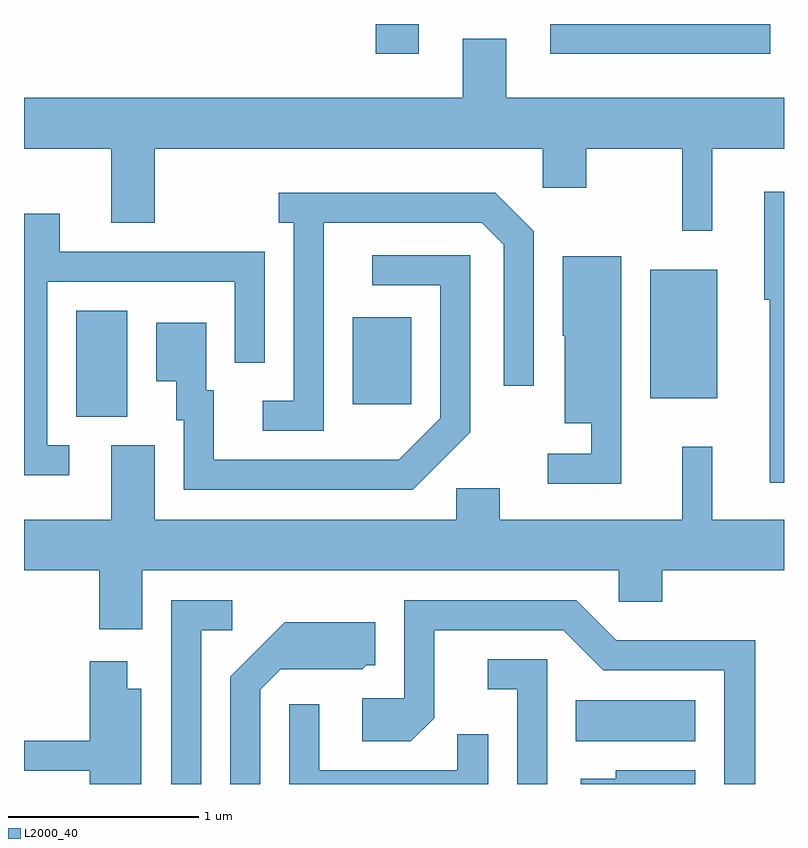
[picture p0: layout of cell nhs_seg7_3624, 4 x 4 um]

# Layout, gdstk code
import gdstk
lib = gdstk.Library(unit=1e-6, precision=1e-09)
def R(c, l, rs):  # rectangles x0, y0, x1, y1
    for r in rs: c.add(gdstk.rectangle(r[:2], r[2:], *l))
def P(c, l, *ps):  # polygons
    for p in ps: c.add(gdstk.Polygon(p, *l))
L2000_40 = (2000, 40)

nhs_seg7_3624 = lib.new_cell('nhs_seg7_3624')
R(nhs_seg7_3624, L2000_40, [(298.516,1764.476,299.144,1764.694), (295.886,1766.186,296.154,1766.744), (297.341,1766.251,297.649,1766.709), (298.906,1766.281,299.259,1766.959), (297.461,1768.096,297.689,1768.252), (298.381,1768.096,299.538,1768.252)])
P(nhs_seg7_3624, L2000_40, [(299.234,1767.596),(299.611,1767.596),(299.611,1767.864),(298.149,1767.864),(298.149,1768.174),(297.921,1768.174),(297.921,1767.864),(295.611,1767.864),(295.611,1767.596),(296.071,1767.596),(296.071,1767.206),(296.299,1767.206),(296.299,1767.596),(298.341,1767.596),(298.341,1767.391),(298.569,1767.391),(298.569,1767.596),(299.076,1767.596),(299.076,1767.163),(299.234,1767.163)],
  [(299.611,1767.369),(299.506,1767.369),(299.506,1766.801),(299.536,1766.801),(299.536,1765.838),(299.611,1765.838)],
  [(297.189,1767.206),(298.019,1767.206),(298.136,1767.089),(298.136,1766.348),(298.294,1766.348),(298.294,1767.162),(298.092,1767.364),(296.953,1767.364),(296.953,1767.206),(297.031,1767.206),(297.031,1766.269),(296.868,1766.269),(296.868,1766.111),(297.189,1766.111)],
  [(295.848,1766.034),(295.734,1766.034),(295.734,1766.896),(296.721,1766.896),(296.721,1766.468),(296.879,1766.468),(296.879,1767.054),(295.799,1767.054),(295.799,1767.254),(295.611,1767.254),(295.611,1765.876),(295.848,1765.876)],
  [(297.959,1766.104),(297.959,1767.034),(297.443,1767.034),(297.443,1766.876),(297.801,1766.876),(297.801,1766.177),(297.584,1765.959),(296.609,1765.959),(296.609,1766.324),(296.569,1766.324),(296.569,1766.679),(296.306,1766.679),(296.306,1766.371),(296.411,1766.371),(296.411,1766.166),(296.451,1766.166),(296.451,1765.801),(297.657,1765.801)],
  [(298.754,1767.029),(298.446,1767.029),(298.446,1766.61),(298.456,1766.61),(298.456,1766.151),(298.596,1766.151),(298.596,1765.989),(298.368,1765.989),(298.368,1765.831),(298.754,1765.831)],
  [(296.234,1765.376),(298.741,1765.376),(298.741,1765.211),(298.969,1765.211),(298.969,1765.376),(299.611,1765.376),(299.611,1765.644),(299.234,1765.644),(299.234,1766.028),(299.076,1766.028),(299.076,1765.644),(298.114,1765.644),(298.114,1765.809),(297.886,1765.809),(297.886,1765.644),(296.299,1765.644),(296.299,1766.034),(296.071,1766.034),(296.071,1765.644),(295.611,1765.644),(295.611,1765.376),(296.006,1765.376),(296.006,1765.066),(296.234,1765.066)],
  [(296.544,1765.061),(296.708,1765.061),(296.708,1765.219),(296.386,1765.219),(296.386,1764.252),(296.544,1764.252)],
  [(299.459,1765.009),(298.727,1765.009),(298.517,1765.219),(297.611,1765.219),(297.611,1764.704),(297.391,1764.704),(297.391,1764.476),(297.647,1764.476),(297.769,1764.599),(297.769,1765.061),(298.449,1765.061),(298.659,1764.851),(299.296,1764.851),(299.296,1764.252),(299.459,1764.252)],
  [(296.854,1764.749),(296.962,1764.856),(297.392,1764.856),(297.412,1764.876),(297.459,1764.876),(297.459,1765.104),(296.984,1765.104),(296.696,1764.817),(296.696,1764.252),(296.854,1764.252)],
  [(298.364,1764.909),(298.053,1764.909),(298.053,1764.751),(298.206,1764.751),(298.206,1764.252),(298.364,1764.252)],
  [(296.229,1764.754),(296.154,1764.754),(296.154,1764.899),(295.956,1764.899),(295.956,1764.479),(295.611,1764.479),(295.611,1764.321),(295.956,1764.321),(295.956,1764.252),(296.229,1764.252)],
  [(298.054,1764.513),(297.891,1764.513),(297.891,1764.324),(297.164,1764.324),(297.164,1764.673),(297.006,1764.673),(297.006,1764.252),(298.054,1764.252)],
  [(299.144,1764.324),(298.726,1764.324),(298.726,1764.279),(298.541,1764.279),(298.541,1764.252),(299.144,1764.252)])

lib.write_gds('nhs_seg7_3624.gds')
